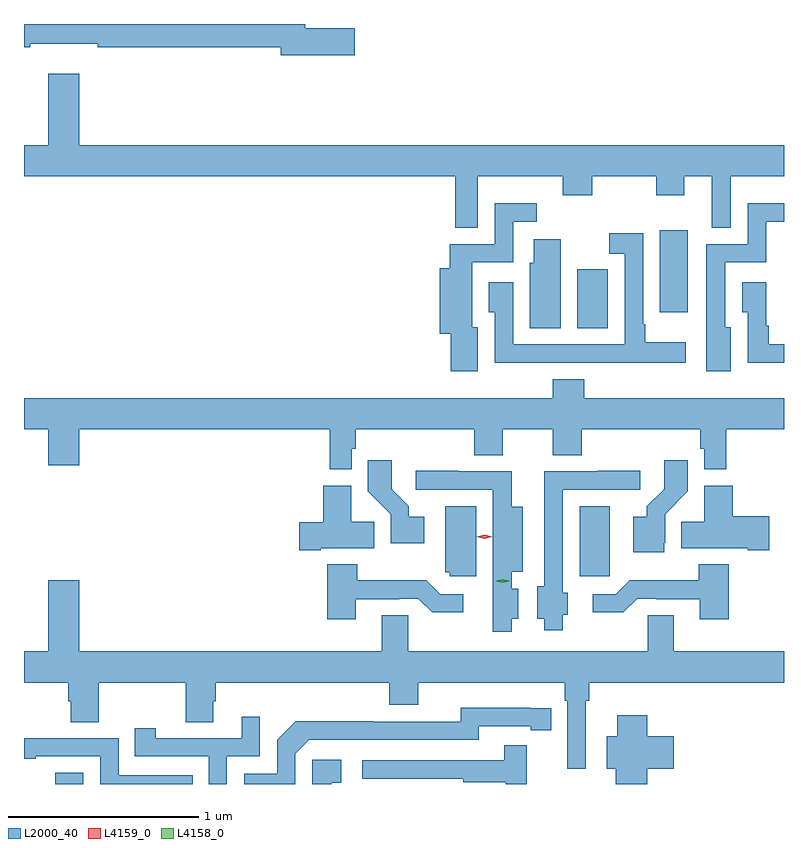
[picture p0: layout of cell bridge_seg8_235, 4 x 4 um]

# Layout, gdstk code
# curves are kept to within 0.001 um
import gdstk
lib = gdstk.Library(unit=1e-6, precision=1e-09)
def R(c, l, rs):  # rectangles x0, y0, x1, y1
    for r in rs: c.add(gdstk.rectangle(r[:2], r[2:], *l))
def P(c, l, *ps):  # polygons
    for p in ps: c.add(gdstk.Polygon(p, *l))
L2000_40 = (2000, 40)
L4158_0 = (4158, 0)
L4159_0 = (4159, 0)

bridge_seg8_235 = lib.new_cell('bridge_seg8_235')
R(bridge_seg8_235, L2000_40, [(308.901,1145.27,309.048,1145.329), (311.66,1146.363,311.818,1146.733), (311.648,1147.669,311.809,1147.98), (312.083,1147.752,312.229,1148.185)])
P(bridge_seg8_235, L2000_40, [(310.477,1149.248),(310.216,1149.248),(310.216,1149.27),(308.736,1149.27),(308.736,1149.148),(308.768,1149.148),(308.768,1149.167),(309.124,1149.167),(309.124,1149.148),(310.088,1149.148),(310.088,1149.106),(310.477,1149.106)],
  [(311.125,1148.468),(311.572,1148.468),(311.572,1148.369),(311.727,1148.369),(311.727,1148.468),(312.064,1148.468),(312.064,1148.369),(312.211,1148.369),(312.211,1148.468),(312.356,1148.468),(312.356,1148.197),(312.457,1148.197),(312.457,1148.468),(312.736,1148.468),(312.736,1148.632),(309.028,1148.632),(309.028,1149.007),(308.864,1149.007),(308.864,1148.632),(308.736,1148.632),(308.736,1148.468),(311.007,1148.468),(311.007,1148.197),(311.125,1148.197)],
  [(312.457,1147.675),(312.427,1147.675),(312.427,1148.016),(312.642,1148.016),(312.642,1148.229),(312.736,1148.229),(312.736,1148.326),(312.546,1148.326),(312.546,1148.112),(312.326,1148.112),(312.326,1147.443),(312.457,1147.443)],
  [(311.125,1147.675),(311.095,1147.675),(311.095,1148.016),(311.31,1148.016),(311.31,1148.229),(311.434,1148.229),(311.434,1148.326),(311.214,1148.326),(311.214,1148.112),(310.977,1148.112),(310.977,1147.984),(310.925,1147.984),(310.925,1147.64),(310.982,1147.64),(310.982,1147.443),(311.125,1147.443)],
  [(311.435,1147.488),(311.801,1147.488),(311.801,1147.487),(312.22,1147.487),(312.22,1147.594),(312.007,1147.594),(312.007,1147.69),(311.994,1147.69),(311.994,1148.17),(311.817,1148.17),(311.817,1148.061),(311.898,1148.061),(311.898,1147.584),(311.31,1147.584),(311.31,1147.912),(311.183,1147.912),(311.183,1147.753),(311.214,1147.753),(311.214,1147.487),(311.435,1147.487)],
  [(311.56,1148.137),(311.42,1148.137),(311.42,1148.013),(311.399,1148.013),(311.399,1147.669),(311.56,1147.669)],
  [(312.736,1147.585),(312.655,1147.585),(312.655,1147.681),(312.642,1147.681),(312.642,1147.912),(312.515,1147.912),(312.515,1147.753),(312.546,1147.753),(312.546,1147.487),(312.736,1147.487)],
  [(310.461,1147.035),(310.481,1147.035),(310.481,1147.136),(311.105,1147.136),(311.105,1147),(311.257,1147),(311.257,1147.136),(311.519,1147.136),(311.519,1147),(311.672,1147),(311.672,1147.136),(312.295,1147.136),(312.295,1147.035),(312.315,1147.035),(312.315,1146.926),(312.431,1146.926),(312.431,1147.136),(312.736,1147.136),(312.736,1147.3),(311.684,1147.3),(311.684,1147.399),(311.519,1147.399),(311.519,1147.3),(308.736,1147.3),(308.736,1147.136),(308.864,1147.136),(308.864,1146.948),(309.028,1146.948),(309.028,1147.136),(310.345,1147.136),(310.345,1146.926),(310.461,1146.926)],
  [(310.843,1146.676),(310.762,1146.676),(310.762,1146.731),(310.672,1146.821),(310.672,1146.973),(310.546,1146.973),(310.546,1146.81),(310.665,1146.691),(310.665,1146.536),(310.843,1146.536)],
  [(312.106,1146.54),(312.111,1146.54),(312.111,1146.691),(312.23,1146.81),(312.23,1146.973),(312.105,1146.973),(312.105,1146.821),(312.014,1146.731),(312.014,1146.676),(311.942,1146.676),(311.942,1146.491),(312.106,1146.491)],
  [(311.572,1146.162),(311.599,1146.162),(311.599,1146.276),(311.571,1146.276),(311.571,1146.819),(311.98,1146.819),(311.98,1146.918),(311.755,1146.918),(311.755,1146.915),(311.475,1146.915),(311.475,1146.311),(311.438,1146.311),(311.438,1146.14),(311.474,1146.14),(311.474,1146.08),(311.572,1146.08)],
  [(311.302,1146.14),(311.338,1146.14),(311.338,1146.298),(311.302,1146.298),(311.302,1146.386),(311.362,1146.386),(311.362,1146.73),(311.302,1146.73),(311.302,1146.915),(311.021,1146.915),(311.021,1146.918),(310.797,1146.918),(310.797,1146.819),(311.204,1146.819),(311.204,1146.072),(311.302,1146.072)],
  [(310.297,1146.512),(310.58,1146.512),(310.58,1146.65),(310.459,1146.65),(310.459,1146.841),(310.31,1146.841),(310.31,1146.647),(310.185,1146.647),(310.185,1146.5),(310.297,1146.5)],
  [(312.658,1146.678),(312.467,1146.678),(312.467,1146.841),(312.317,1146.841),(312.317,1146.65),(312.196,1146.65),(312.196,1146.512),(312.545,1146.512),(312.545,1146.5),(312.658,1146.5)],
  [(311.116,1146.733),(310.952,1146.733),(310.952,1146.384),(310.977,1146.384),(310.977,1146.363),(311.116,1146.363)],
  [(310.483,1146.243),(310.712,1146.243),(310.712,1146.246),(310.812,1146.246),(310.885,1146.173),(311.047,1146.173),(311.047,1146.27),(310.926,1146.27),(310.853,1146.343),(310.491,1146.343),(310.491,1146.427),(310.331,1146.427),(310.331,1146.138),(310.483,1146.138)],
  [(312.446,1146.427),(312.286,1146.427),(312.286,1146.343),(311.923,1146.343),(311.85,1146.27),(311.73,1146.27),(311.73,1146.173),(311.891,1146.173),(311.964,1146.246),(312.064,1146.246),(312.064,1146.243),(312.293,1146.243),(312.293,1146.138),(312.446,1146.138)],
  [(311.692,1145.708),(311.711,1145.708),(311.711,1145.804),(312.736,1145.804),(312.736,1145.968),(312.157,1145.968),(312.157,1146.158),(312.018,1146.158),(312.018,1145.968),(310.758,1145.968),(310.758,1146.158),(310.619,1146.158),(310.619,1145.968),(309.028,1145.968),(309.028,1146.343),(308.864,1146.343),(308.864,1145.968),(308.736,1145.968),(308.736,1145.804),(308.969,1145.804),(308.969,1145.706),(308.981,1145.706),(308.981,1145.596),(309.129,1145.596),(309.129,1145.804),(309.586,1145.804),(309.586,1145.596),(309.733,1145.596),(309.733,1145.706),(309.746,1145.706),(309.746,1145.804),(310.658,1145.804),(310.658,1145.687),(310.81,1145.687),(310.81,1145.804),(311.582,1145.804),(311.582,1145.708),(311.595,1145.708),(311.595,1145.349),(311.692,1145.349)],
  [(310.164,1145.43),(310.236,1145.502),(311.13,1145.502),(311.13,1145.574),(311.402,1145.574),(311.402,1145.554),(311.51,1145.554),(311.51,1145.67),(311.034,1145.671),(311.034,1145.598),(310.574,1145.598),(310.574,1145.6),(310.166,1145.6),(310.068,1145.502),(310.068,1145.325),(309.894,1145.325),(309.894,1145.27),(310.164,1145.27)],
  [(312.017,1145.351),(312.157,1145.351),(312.157,1145.521),(312.017,1145.521),(312.017,1145.632),(311.858,1145.632),(311.858,1145.521),(311.804,1145.521),(311.804,1145.351),(311.851,1145.351),(311.851,1145.27),(312.017,1145.27)],
  [(309.804,1145.415),(309.978,1145.415),(309.978,1145.623),(309.881,1145.623),(309.881,1145.511),(309.43,1145.511),(309.43,1145.563),(309.319,1145.563),(309.319,1145.415),(309.708,1145.415),(309.708,1145.27),(309.804,1145.27)],
  [(309.623,1145.316),(309.234,1145.316),(309.234,1145.511),(308.736,1145.511),(308.736,1145.403),(308.797,1145.403),(308.797,1145.415),(309.138,1145.415),(309.138,1145.27),(309.623,1145.27)],
  [(311.381,1145.473),(311.263,1145.473),(311.263,1145.394),(310.515,1145.394),(310.515,1145.298),(311.047,1145.298),(311.047,1145.278),(311.271,1145.278),(311.271,1145.27),(311.381,1145.27)],
  [(310.352,1145.277),(310.405,1145.277),(310.405,1145.398),(310.254,1145.398),(310.254,1145.27),(310.352,1145.27)])
P(bridge_seg8_235, L4158_0, [(311.256,1146.328),(311.222,1146.338),(311.221,1146.338),(311.222,1146.339),(311.256,1146.348),(311.291,1146.339),(311.291,1146.338),(311.291,1146.338)])
P(bridge_seg8_235, L4159_0, [(311.16,1146.561),(311.119,1146.571),(311.119,1146.571),(311.119,1146.571),(311.16,1146.581),(311.201,1146.571),(311.201,1146.571),(311.201,1146.571)])

lib.write_gds('bridge_seg8_235.gds')
